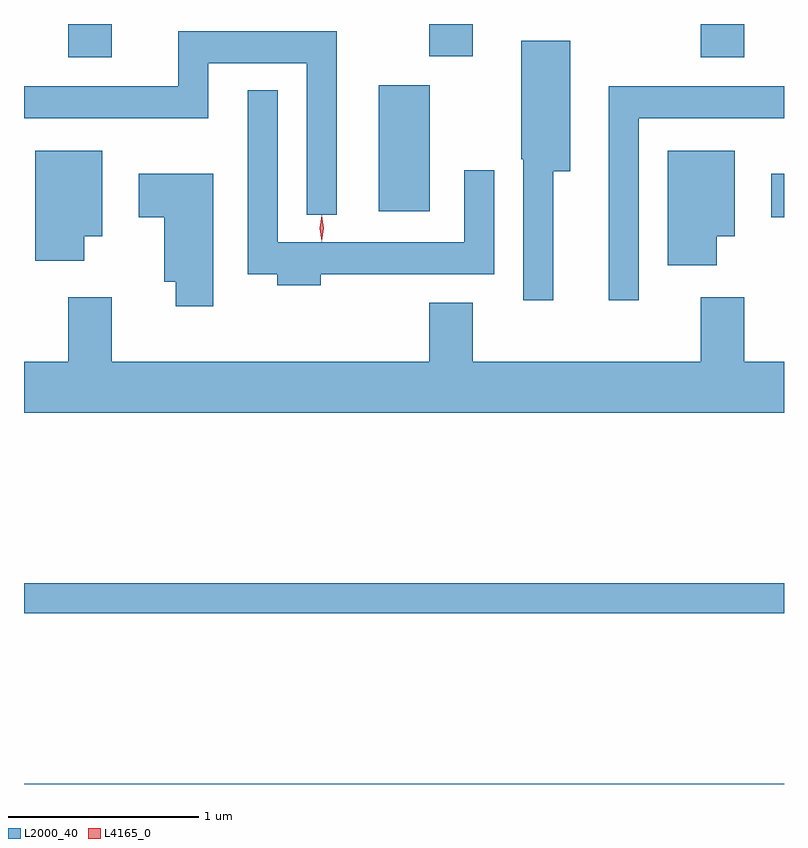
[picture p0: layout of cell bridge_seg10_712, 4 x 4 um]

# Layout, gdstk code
import gdstk
lib = gdstk.Library(unit=1e-6, precision=1e-09)
def R(c, l, rs):  # rectangles x0, y0, x1, y1
    for r in rs: c.add(gdstk.rectangle(r[:2], r[2:], *l))
def P(c, l, *ps):  # polygons
    for p in ps: c.add(gdstk.Polygon(p, *l))
L2000_40 = (2000, 40)
L4165_0 = (4165, 0)

bridge_seg10_712 = lib.new_cell('bridge_seg10_712')
R(bridge_seg10_712, L2000_40, [(1026.648,2105.302,1030.648,2105.304), (1026.648,2106.201,1030.648,2106.359), (1030.581,2108.286,1030.648,2108.514), (1028.516,2108.316,1028.784,2108.979), (1026.881,2109.126,1027.109,2109.302), (1030.211,2109.126,1030.439,2109.302), (1028.781,2109.131,1029.009,2109.302)])
P(bridge_seg10_712, L2000_40, [(1028.294,2109.264),(1027.461,2109.264),(1027.461,2108.974),(1026.648,2108.974),(1026.648,2108.806),(1027.619,2108.806),(1027.619,2109.096),(1028.136,2109.096),(1028.136,2108.298),(1028.294,2108.298)],
  [(1029.434,2108.526),(1029.524,2108.526),(1029.524,2109.214),(1029.266,2109.214),(1029.266,2108.59),(1029.276,2108.59),(1029.276,2107.848),(1029.434,2107.848)],
  [(1029.884,2108.806),(1030.648,2108.806),(1030.648,2108.974),(1029.726,2108.974),(1029.726,2107.848),(1029.884,2107.848)],
  [(1028.209,2107.986),(1029.124,2107.986),(1029.124,2108.533),(1028.966,2108.533),(1028.966,2108.154),(1027.984,2108.154),(1027.984,2108.953),(1027.826,2108.953),(1027.826,2107.986),(1027.981,2107.986),(1027.981,2107.926),(1028.209,2107.926)],
  [(1026.964,2108.186),(1027.059,2108.186),(1027.059,2108.634),(1026.706,2108.634),(1026.706,2108.056),(1026.964,2108.056)],
  [(1030.294,2108.186),(1030.389,2108.186),(1030.389,2108.634),(1030.036,2108.634),(1030.036,2108.031),(1030.294,2108.031)],
  [(1027.644,2108.514),(1027.251,2108.514),(1027.251,2108.286),(1027.386,2108.286),(1027.386,2107.946),(1027.446,2107.946),(1027.446,2107.816),(1027.644,2107.816)],
  [(1030.648,2107.524),(1030.439,2107.524),(1030.439,2107.864),(1030.211,2107.864),(1030.211,2107.524),(1029.009,2107.524),(1029.009,2107.834),(1028.781,2107.834),(1028.781,2107.524),(1027.109,2107.524),(1027.109,2107.864),(1026.881,2107.864),(1026.881,2107.524),(1026.648,2107.524),(1026.648,2107.256),(1030.648,2107.256)])
P(bridge_seg10_712, L4165_0, [(1028.214,2108.16),(1028.214,2108.16),(1028.205,2108.226),(1028.214,2108.292),(1028.215,2108.293),(1028.215,2108.292),(1028.224,2108.226),(1028.215,2108.16)],
  [(1028.215,2108.157),(1028.215,2108.158),(1028.205,2108.227),(1028.215,2108.296),(1028.215,2108.296),(1028.216,2108.296),(1028.225,2108.227),(1028.216,2108.158)])

lib.write_gds('bridge_seg10_712.gds')
